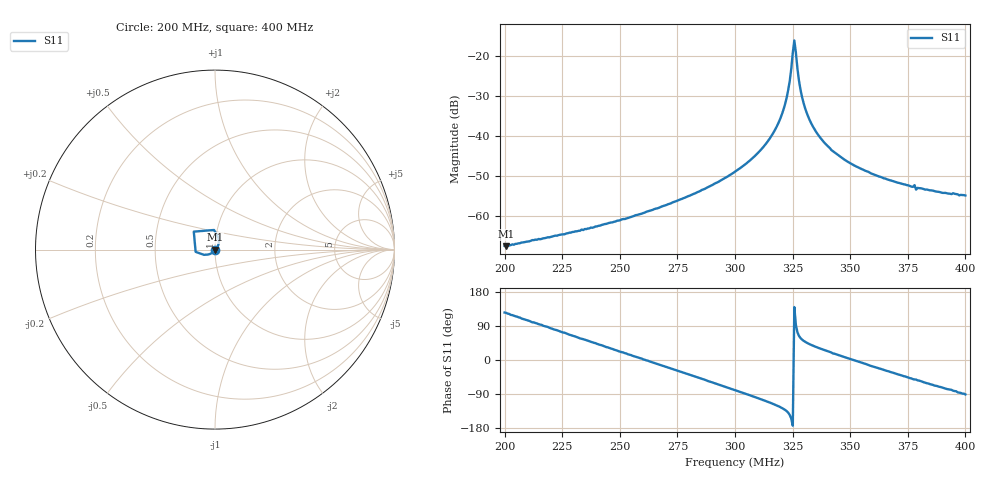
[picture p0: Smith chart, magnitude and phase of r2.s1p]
! ListType=Lin
# MHz S DB R 50
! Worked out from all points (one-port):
!   300 points, 200 MHz to 400 MHz, reference 50 ohm
!   lowest |S11| = -67.7 dB at 200.7 MHz (marker M1), VSWR 1.00, Z = 50 + j0.0341 ohm
!   |S11| at or under -10 dB: start of sweep to end of sweep
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200  -67.60 125.3
200.6689  -67.65 124.5
225.4181  -64.68 72.5
250.1672  -61.15 21.8
275.5853  -56.13 -29.6
286.9565  -53.30 -52.3
300.3344  -48.90 -80.2
311.0368  -43.68 -103.1
315.0502  -40.75 -112.2
318.3946  -37.41 -120.7
320.4013  -34.60 -126.7
322.408  -30.57 -134.9
323.7458  -26.39 -144.9
325.0836  -19.28 -173.4
325.7525  -16.20 -220.3
326.4214  -19.22 -267.1
327.0903  -23.21 -286.9
327.7592  -26.22 -296.3
329.097  -30.34 -306.1
331.1037  -34.28 -314.3
333.7793  -37.69 -322.1
341.806  -43.59 -340.2
350.5017  -47.06 -358.4
362.5418  -50.24 -382.2
375.2508  -52.45 -406.3
377.9264  -52.39 -411.4
378.5953  -53.51 -411.6
400  -54.97 -450.8
